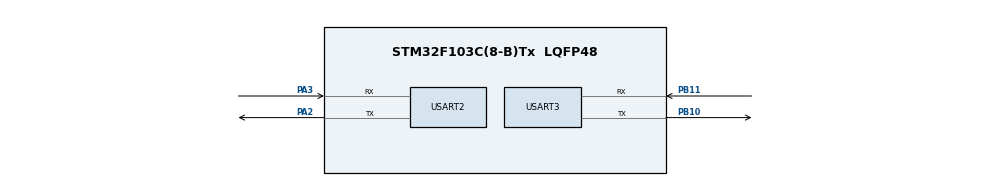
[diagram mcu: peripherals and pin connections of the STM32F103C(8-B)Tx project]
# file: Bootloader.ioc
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Dma.Request0=USART2_RX
Dma.Request1=USART2_TX
Dma.USART2_RX.0.Direction=DMA_PERIPH_TO_MEMORY
Dma.USART2_RX.0.Instance=DMA1_Channel6
Dma.USART2_RX.0.MemDataAlignment=DMA_MDATAALIGN_BYTE
Dma.USART2_RX.0.MemInc=DMA_MINC_ENABLE
Dma.USART2_RX.0.Mode=DMA_NORMAL
Dma.USART2_RX.0.PeriphDataAlignment=DMA_PDATAALIGN_BYTE
Dma.USART2_RX.0.PeriphInc=DMA_PINC_DISABLE
Dma.USART2_RX.0.Priority=DMA_PRIORITY_HIGH
Dma.USART2_TX.1.Direction=DMA_MEMORY_TO_PERIPH
Dma.USART2_TX.1.Instance=DMA1_Channel7
Dma.USART2_TX.1.MemDataAlignment=DMA_MDATAALIGN_BYTE
Dma.USART2_TX.1.MemInc=DMA_MINC_ENABLE
Dma.USART2_TX.1.Mode=DMA_NORMAL
Dma.USART2_TX.1.PeriphDataAlignment=DMA_PDATAALIGN_BYTE
Dma.USART2_TX.1.PeriphInc=DMA_PINC_DISABLE
Dma.USART2_TX.1.Priority=DMA_PRIORITY_HIGH
FREERTOS.BinarySemaphores01=semaphoreUartTx,Dynamic,NULL;semaphoreUartRx,Dynamic,NULL
FREERTOS.Tasks01=defaultTask,0,128,StartDefaultTask,Default,NULL,Dynamic,NULL,NULL
FREERTOS.configUSE_NEWLIB_REENTRANT=1
Mcu.Family=STM32F1
Mcu.Name=STM32F103C(8-B)Tx
Mcu.Package=LQFP48
NVIC.DMA1_Channel6_IRQn=true\:5\:0\:false\:false\:true\:true\:false\:true
NVIC.DMA1_Channel7_IRQn=true\:5\:0\:false\:false\:true\:true\:false\:true
NVIC.PVD_IRQn=true\:5\:0\:false\:false\:true\:true\:true\:true
NVIC.PriorityGroup=NVIC_PRIORITYGROUP_4
NVIC.TIM4_IRQn=true\:15\:0\:false\:false\:true\:false\:false\:true
NVIC.TimeBase=TIM4_IRQn
NVIC.TimeBaseIP=TIM4
NVIC.USART2_IRQn=true\:5\:0\:false\:false\:true\:true\:true\:true
PA13.Mode=Serial_Wire
PA13.Signal=SYS_JTMS-SWDIO
PA14.Mode=Serial_Wire
PA14.Signal=SYS_JTCK-SWCLK
PA2.Mode=Asynchronous
PA2.Signal=USART2_TX
PA3.Mode=Asynchronous
PA3.Signal=USART2_RX
PB10.Mode=Asynchronous
PB10.Signal=USART3_TX
PB11.Mode=Asynchronous
PB11.Signal=USART3_RX
PD0-OSC_IN.Mode=HSE-External-Oscillator
PD0-OSC_IN.Signal=RCC_OSC_IN
PD1-OSC_OUT.Mode=HSE-External-Oscillator
PD1-OSC_OUT.Signal=RCC_OSC_OUT
ProjectManager.HeapSize=0x200
ProjectManager.StackSize=0x400
ProjectManager.TargetToolchain=STM32CubeIDE
RCC.APB1Freq_Value=8000000
RCC.APB2Freq_Value=8000000
USART2.VirtualMode=VM_ASYNC
USART3.VirtualMode=VM_ASYNC
VP_CRC_VS_CRC.Mode=CRC_Activate
VP_FREERTOS_VS_CMSIS_V1.Mode=CMSIS_V1
VP_SYS_VS_tim4.Mode=TIM4
board=custom

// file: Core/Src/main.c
/* USER CODE BEGIN Header */
/**
  ******************************************************************************
  * @file           : main.c
  * @brief          : Main program body
  ******************************************************************************
  * @attention
  *
  * Copyright (c) 2022 STMicroelectronics.
  * All rights reserved.
  *
  * This software is licensed under terms that can be found in the LICENSE file
  * in the root directory of this software component.
  * If no LICENSE file comes with this software, it is provided AS-IS.
  *
  ******************************************************************************
  */
/* USER CODE END Header */
#include "main.h"
#include "cmsis_os.h"

CRC_HandleTypeDef hcrc;

UART_HandleTypeDef huart2;
UART_HandleTypeDef huart3;
DMA_HandleTypeDef hdma_usart2_rx;
DMA_HandleTypeDef hdma_usart2_tx;

osThreadId defaultTaskHandle;
osSemaphoreId semaphoreUartTxHandle;
osSemaphoreId semaphoreUartRxHandle;
/* USER CODE BEGIN PV */
BaseType_t xHigherPriorityTaskWoken = 0;
uint8_t rxUart[100] = {0};
/* USER CODE END PV */

void SystemClock_Config(void);
static void MX_GPIO_Init(void);
static void MX_CRC_Init(void);
static void MX_USART2_UART_Init(void);
static void MX_DMA_Init(void);
static void MX_USART3_UART_Init(void);
void StartDefaultTask(void const * argument);

int main(void)
{

  /* MCU Configuration--------------------------------------------------------*/

  /* Reset of all peripherals, Initializes the Flash interface and the Systick. */
  HAL_Init();

  /* Configure the system clock */
  SystemClock_Config();

  /* Initialize all configured peripherals */
  MX_GPIO_Init();
  MX_CRC_Init();
  MX_DMA_Init();
  MX_USART2_UART_Init();
  MX_USART3_UART_Init();

  /* Create the semaphores(s) */
  /* definition and creation of semaphoreUartTx */
  osSemaphoreDef(semaphoreUartTx);
  semaphoreUartTxHandle = osSemaphoreCreate(osSemaphore(semaphoreUartTx), 1);

  /* definition and creation of semaphoreUartRx */
  osSemaphoreDef(semaphoreUartRx);
  semaphoreUartRxHandle = osSemaphoreCreate(osSemaphore(semaphoreUartRx), 1);

  /* Create the thread(s) */
  /* definition and creation of defaultTask */
  osThreadDef(defaultTask, StartDefaultTask, osPriorityNormal, 0, 128);
  defaultTaskHandle = osThreadCreate(osThread(defaultTask), NULL);

  /* Start scheduler */
  osKernelStart();

  /* We should never get here as control is now taken by the scheduler */
  /* Infinite loop */
  while (1)
  {

  }
}

void SystemClock_Config(void)
{
  RCC_OscInitTypeDef RCC_OscInitStruct = {0};
  RCC_ClkInitTypeDef RCC_ClkInitStruct = {0};

  /** Initializes the RCC Oscillators according to the specified parameters
  * in the RCC_OscInitTypeDef structure.
  */
  RCC_OscInitStruct.OscillatorType = RCC_OSCILLATORTYPE_HSI;
  RCC_OscInitStruct.HSIState = RCC_HSI_ON;
  RCC_OscInitStruct.HSICalibrationValue = RCC_HSICALIBRATION_DEFAULT;
  RCC_OscInitStruct.PLL.PLLState = RCC_PLL_NONE;
  if (HAL_RCC_OscConfig(&RCC_OscInitStruct) != HAL_OK)
  {
    Error_Handler();
  }
  /** Initializes the CPU, AHB and APB buses clocks
  */
  RCC_ClkInitStruct.ClockType = RCC_CLOCKTYPE_HCLK|RCC_CLOCKTYPE_SYSCLK
                              |RCC_CLOCKTYPE_PCLK1|RCC_CLOCKTYPE_PCLK2;
  RCC_ClkInitStruct.SYSCLKSource = RCC_SYSCLKSOURCE_HSI;
  RCC_ClkInitStruct.AHBCLKDivider = RCC_SYSCLK_DIV1;
  RCC_ClkInitStruct.APB1CLKDivider = RCC_HCLK_DIV1;
  RCC_ClkInitStruct.APB2CLKDivider = RCC_HCLK_DIV1;

  if (HAL_RCC_ClockConfig(&RCC_ClkInitStruct, FLASH_LATENCY_0) != HAL_OK)
  {
    Error_Handler();
  }
}

static void MX_CRC_Init(void)
{

  hcrc.Instance = CRC;
  if (HAL_CRC_Init(&hcrc) != HAL_OK)
  {
    Error_Handler();
  }

}

static void MX_USART2_UART_Init(void)
{

  huart2.Instance = USART2;
  huart2.Init.BaudRate = 115200;
  huart2.Init.WordLength = UART_WORDLENGTH_8B;
  huart2.Init.StopBits = UART_STOPBITS_1;
  huart2.Init.Parity = UART_PARITY_NONE;
  huart2.Init.Mode = UART_MODE_TX_RX;
  huart2.Init.HwFlowCtl = UART_HWCONTROL_NONE;
  huart2.Init.OverSampling = UART_OVERSAMPLING_16;
  if (HAL_UART_Init(&huart2) != HAL_OK)
  {
    Error_Handler();
  }

}

static void MX_USART3_UART_Init(void)
{

  huart3.Instance = USART3;
  huart3.Init.BaudRate = 115200;
  huart3.Init.WordLength = UART_WORDLENGTH_8B;
  huart3.Init.StopBits = UART_STOPBITS_1;
  huart3.Init.Parity = UART_PARITY_NONE;
  huart3.Init.Mode = UART_MODE_TX_RX;
  huart3.Init.HwFlowCtl = UART_HWCONTROL_NONE;
  huart3.Init.OverSampling = UART_OVERSAMPLING_16;
  if (HAL_UART_Init(&huart3) != HAL_OK)
  {
    Error_Handler();
  }

}

static void MX_DMA_Init(void)
{

  /* DMA controller clock enable */
  __HAL_RCC_DMA1_CLK_ENABLE();

  /* DMA interrupt init */
  /* DMA1_Channel6_IRQn interrupt configuration */
  HAL_NVIC_SetPriority(DMA1_Channel6_IRQn, 5, 0);
  HAL_NVIC_EnableIRQ(DMA1_Channel6_IRQn);
  /* DMA1_Channel7_IRQn interrupt configuration */
  HAL_NVIC_SetPriority(DMA1_Channel7_IRQn, 5, 0);
  HAL_NVIC_EnableIRQ(DMA1_Channel7_IRQn);

}

static void MX_GPIO_Init(void)
{

  /* GPIO Ports Clock Enable */
  __HAL_RCC_GPIOD_CLK_ENABLE();
  __HAL_RCC_GPIOA_CLK_ENABLE();
  __HAL_RCC_GPIOB_CLK_ENABLE();

}

/* USER CODE BEGIN 4 */
void HAL_UART_TxCpltCallback(UART_HandleTypeDef *huart)
{
    if(huart == NULL) return;

	xSemaphoreGiveFromISR(semaphoreUartTxHandle, &xHigherPriorityTaskWoken);
	portEND_SWITCHING_ISR(xHigherPriorityTaskWoken);
}

void HAL_UARTEx_RxEventCallback(UART_HandleTypeDef *huart, uint16_t Size)
{
	if(huart == NULL)
	{
		return;
	}
	HAL_UARTEx_ReceiveToIdle_DMA(&huart2, rxUart, 100);
	__HAL_DMA_DISABLE_IT(&hdma_usart2_rx, DMA_IT_HT);
}
/* USER CODE END 4 */

void StartDefaultTask(void const * argument)
{
  /* USER CODE BEGIN 5 */
	HAL_UARTEx_ReceiveToIdle_DMA(&huart2, rxUart, 100);
	__HAL_DMA_DISABLE_IT(&hdma_usart2_rx, DMA_IT_HT);
	xSemaphoreTake(semaphoreUartTxHandle, pdMS_TO_TICKS(1));
	/* Infinite loop */
	for(;;)
	{
		HAL_UART_Abort(&huart2);
		HAL_UART_Transmit_DMA(&huart2, (uint8_t*)"TESTE\r\n", 7);
		xSemaphoreTake(semaphoreUartTxHandle, pdMS_TO_TICKS(100));
		HAL_UART_Transmit(&huart3, "teste\r\n", 7, 100);

		HAL_UARTEx_ReceiveToIdle_DMA(&huart2, rxUart, 100);
		__HAL_DMA_DISABLE_IT(&hdma_usart2_rx, DMA_IT_HT);
		osDelay(500);
	}
  /* USER CODE END 5 */
}

void HAL_TIM_PeriodElapsedCallback(TIM_HandleTypeDef *htim)
{
  if (htim->Instance == TIM4) {
    HAL_IncTick();
  }
}

void Error_Handler(void)
{
  __disable_irq();
  while (1)
  {
  }
}
